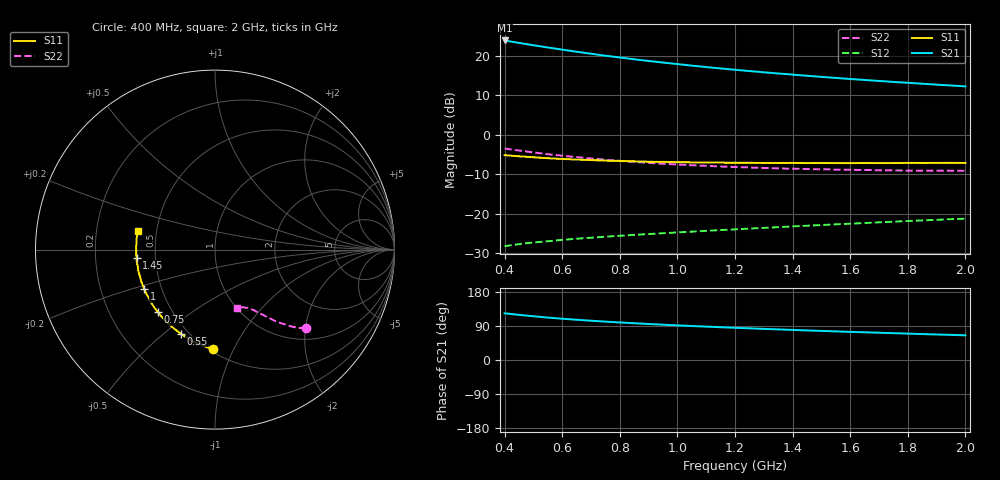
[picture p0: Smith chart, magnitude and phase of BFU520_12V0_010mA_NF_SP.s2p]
! Filename:  P:\Prog\Test\Noise\ATS_data\Testdata_Net\06 Compressed Noise after Statistics\BFU520_APG2013_37_A05_12p0V_010mA_NF_CM01_D.sf
! Date/Time: Fri 26/Apr/2013 14:13:14
! BFU520_APG2013_37_A05_12p0V_1to20mA_NF_CM01_Bias6_R.sf
! Noise Parameter Data File
! BFU520_APG2013_37_A05_12p0V_1to20mA_NF_CM01
! Date/time: Tue Apr 23 19:55:39 2013
! VAR V_out= 12.001000
! VAR I_out= 9.995000
! VAR V_in= 0.809700
! VAR I_in= 0.100205
! Device data file deembeded for feedlines and parallel
! Original file: \06 Compressed Noise after Statistics\BFU520_APG2013_37_A05_12p0V_010mA_NF_CM01_R.sf
! Feed-files: PR047V01_250413_Feed1.s2p, PR047V01_250413_Feed2.s2p
! Parallel-file: PR047V01_250413_Par.s2p
# MHz S MA R 50
!  Freq-MHz  S11-mag  S11-arg  S21-mag  S21-arg  S12-mag  S12-arg  S22-mag  S22-arg
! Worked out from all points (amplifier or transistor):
!   37 points, 400 MHz to 2 GHz, reference 50 ohm
!   highest |S21| = 24.0 dB at 400 MHz (marker M1)
!   |S21| within 3 dB of that: start of sweep to 663.4 MHz
!   unconditionally stable (mu >= 1): 1.877 GHz to end of sweep
!   at 500 MHz: K = 0.46, MSG = 25.0 dB, |S12| = -27.3 dB
!   at 1.1 GHz: K = 0.80, MSG = 20.8 dB, |S12| = -24.3 dB
!   at 2 GHz: K = 1.02, MAG = 15.8 dB, |S12| = -21.3 dB
!   lowest NFmin = 0.91 dB at 420 MHz
!   S11 on the Smith chart (normalised r, x): 400 MHz: 0.52, -0.83; 550 MHz: 0.45, -0.57; 750 MHz: 0.42, -0.37; 1 GHz: 0.40, -0.22; 1.45 GHz: 0.39, -0.04; 2 GHz: 0.39, +0.10
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400  0.5533 -91.2  15.77 123.3  0.03878 53.9  0.6704 -41.0
433  0.541 -96.2  15.04 120.5  0.0404 52.8  0.6455 -42.6
460  0.532 -100.1  14.48 118.4  0.04159 52.0  0.6272 -43.8
500  0.5205 -105.7  13.72 115.5  0.04316 50.9  0.6004 -45.4
550  0.5058 -112.3  12.86 111.9  0.04478 50.0  0.5686 -47.0
600  0.4953 -117.8  12.07 109.0  0.04661 49.3  0.5446 -48.5
650  0.4868 -123.1  11.35 106.2  0.0482 48.7  0.522 -49.8
700  0.4789 -127.8  10.69 103.7  0.04964 48.4  0.5019 -50.8
750  0.4718 -132.4  10.11 101.3  0.05111 48.2  0.4845 -51.8
800  0.4672 -136.4  9.583 99.1  0.05253 48.1  0.4684 -52.8
850  0.4626 -140.4  9.105 97.0  0.0539 48.0  0.4542 -53.5
900  0.4566 -144.3  8.666 95.0  0.05524 48.0  0.4423 -54.4
950  0.4548 -147.6  8.272 93.2  0.05656 48.1  0.4308 -55.0
1000  0.4511 -150.6  7.906 91.4  0.05798 48.3  0.4214 -55.6
1100  0.4476 -156.6  7.254 88.1  0.06066 48.6  0.405 -57.0
1200  0.4436 -162.4  6.701 85.0  0.06337 48.9  0.3916 -58.4
1300  0.4405 -167.2  6.226 82.1  0.06618 49.3  0.3811 -59.5
1450  0.439 -174.2  5.625 78.0  0.07045 49.8  0.3693 -61.5
1500  0.4402 -176.0  5.446 76.8  0.0719 50.0  0.3661 -62.1
1600  0.4385 179.7  5.117 74.2  0.07474 50.3  0.3605 -63.5
1750  0.4394 174.2  4.699 70.8  0.07923 50.7  0.354 -65.5
2000  0.4409 166.3  4.124 65.1  0.08651 51.1  0.3498 -69.3
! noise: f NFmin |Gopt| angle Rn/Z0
400  0.9924  0.03201  110.7  0.1157
460  0.925  0.03006  124.5  0.108
600  0.9648  0.02091  60.79  0.127
800  0.9746  0.05389  130.4  0.1083
1000  0.9993  0.06913  133.1  0.1058
1200  1.026  0.0745  139.8  0.109
1400  1.039  0.09638  152.2  0.1064
1600  1.079  0.1113  164.1  0.1022
1800  1.008  0.1407  168.8  0.1002
2000  1.133  0.152  179  0.0982
